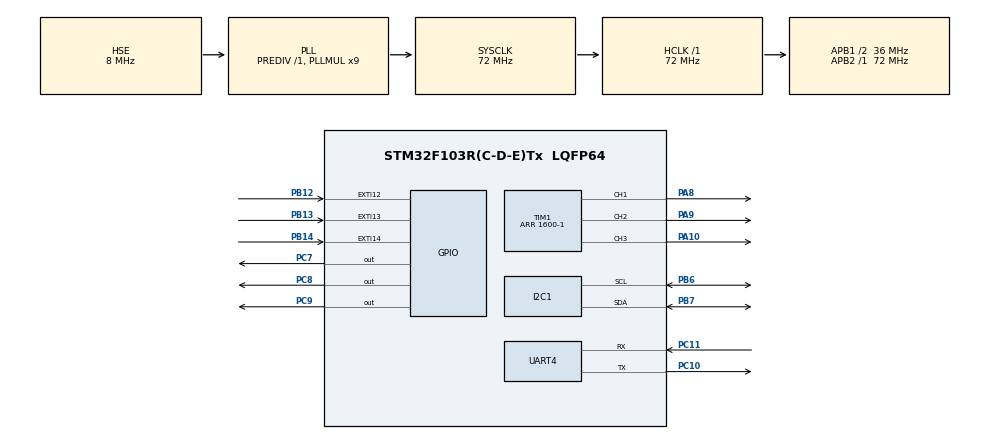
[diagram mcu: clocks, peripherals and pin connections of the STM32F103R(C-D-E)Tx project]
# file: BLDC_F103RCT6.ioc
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Dma.I2C1_RX.1.Direction=DMA_PERIPH_TO_MEMORY
Dma.I2C1_RX.1.Instance=DMA1_Channel7
Dma.I2C1_RX.1.MemDataAlignment=DMA_MDATAALIGN_BYTE
Dma.I2C1_RX.1.MemInc=DMA_MINC_ENABLE
Dma.I2C1_RX.1.Mode=DMA_NORMAL
Dma.I2C1_RX.1.PeriphDataAlignment=DMA_PDATAALIGN_BYTE
Dma.I2C1_RX.1.PeriphInc=DMA_PINC_DISABLE
Dma.I2C1_RX.1.Priority=DMA_PRIORITY_LOW
Dma.I2C1_TX.0.Direction=DMA_MEMORY_TO_PERIPH
Dma.I2C1_TX.0.Instance=DMA1_Channel6
Dma.I2C1_TX.0.MemDataAlignment=DMA_MDATAALIGN_BYTE
Dma.I2C1_TX.0.MemInc=DMA_MINC_ENABLE
Dma.I2C1_TX.0.Mode=DMA_NORMAL
Dma.I2C1_TX.0.PeriphDataAlignment=DMA_PDATAALIGN_BYTE
Dma.I2C1_TX.0.PeriphInc=DMA_PINC_DISABLE
Dma.I2C1_TX.0.Priority=DMA_PRIORITY_LOW
Dma.Request0=I2C1_TX
Dma.Request1=I2C1_RX
Dma.Request2=UART4_RX
Dma.Request3=UART4_TX
Dma.UART4_RX.2.Direction=DMA_PERIPH_TO_MEMORY
Dma.UART4_RX.2.Instance=DMA2_Channel3
Dma.UART4_RX.2.MemDataAlignment=DMA_MDATAALIGN_BYTE
Dma.UART4_RX.2.MemInc=DMA_MINC_ENABLE
Dma.UART4_RX.2.Mode=DMA_NORMAL
Dma.UART4_RX.2.PeriphDataAlignment=DMA_PDATAALIGN_BYTE
Dma.UART4_RX.2.PeriphInc=DMA_PINC_DISABLE
Dma.UART4_RX.2.Priority=DMA_PRIORITY_LOW
Dma.UART4_TX.3.Direction=DMA_MEMORY_TO_PERIPH
Dma.UART4_TX.3.Instance=DMA2_Channel5
Dma.UART4_TX.3.MemDataAlignment=DMA_MDATAALIGN_BYTE
Dma.UART4_TX.3.MemInc=DMA_MINC_ENABLE
Dma.UART4_TX.3.Mode=DMA_NORMAL
Dma.UART4_TX.3.PeriphDataAlignment=DMA_PDATAALIGN_BYTE
Dma.UART4_TX.3.PeriphInc=DMA_PINC_DISABLE
Dma.UART4_TX.3.Priority=DMA_PRIORITY_LOW
FREERTOS.Tasks01=defaultTask,-3,64,StartDefaultTask,Default,NULL,Dynamic,NULL,NULL
FREERTOS.configGENERATE_RUN_TIME_STATS=1
FREERTOS.configMINIMAL_STACK_SIZE=64
FREERTOS.configRECORD_STACK_HIGH_ADDRESS=1
FREERTOS.configUSE_NEWLIB_REENTRANT=1
FREERTOS.configUSE_STATS_FORMATTING_FUNCTIONS=1
FREERTOS.configUSE_TRACE_FACILITY=1
Mcu.Family=STM32F1
Mcu.Name=STM32F103R(C-D-E)Tx
Mcu.Package=LQFP64
NVIC.DMA1_Channel6_IRQn=true\:5\:0\:false\:false\:true\:true\:false\:true\:true
NVIC.DMA1_Channel7_IRQn=true\:5\:0\:false\:false\:true\:true\:false\:true\:true
NVIC.DMA2_Channel3_IRQn=true\:5\:0\:false\:false\:true\:true\:false\:true\:true
NVIC.DMA2_Channel4_5_IRQn=true\:5\:0\:false\:false\:true\:true\:false\:true\:true
NVIC.EXTI15_10_IRQn=true\:5\:0\:false\:false\:true\:true\:true\:true\:true
NVIC.PriorityGroup=NVIC_PRIORITYGROUP_4
NVIC.TIM7_IRQn=true\:5\:0\:false\:false\:true\:true\:true\:true\:true
NVIC.TIM8_UP_IRQn=true\:15\:0\:false\:false\:true\:false\:false\:true\:true
NVIC.TimeBase=TIM8_UP_IRQn
NVIC.TimeBaseIP=TIM8
PA10.Signal=S_TIM1_CH3
PA13.Mode=Trace_Asynchronous_SW
PA13.Signal=SYS_JTMS-SWDIO
PA14.Mode=Trace_Asynchronous_SW
PA14.Signal=SYS_JTCK-SWCLK
PA8.Signal=S_TIM1_CH1
PA9.Signal=S_TIM1_CH2
PB12.GPIO_ModeDefaultEXTI=GPIO_MODE_IT_RISING_FALLING
PB12.Signal=GPXTI12
PB13.GPIO_ModeDefaultEXTI=GPIO_MODE_IT_RISING_FALLING
PB13.Signal=GPXTI13
PB14.GPIO_ModeDefaultEXTI=GPIO_MODE_IT_RISING_FALLING
PB14.Signal=GPXTI14
PB3.Mode=Trace_Asynchronous_SW
PB3.Signal=SYS_JTDO-TRACESWO
PB6.Mode=I2C
PB6.Signal=I2C1_SCL
PB7.Mode=I2C
PB7.Signal=I2C1_SDA
PC10.Mode=Asynchronous
PC10.Signal=UART4_TX
PC11.Mode=Asynchronous
PC11.Signal=UART4_RX
PC14-OSC32_IN.Mode=LSE-External-Oscillator
PC14-OSC32_IN.Signal=RCC_OSC32_IN
PC15-OSC32_OUT.Mode=LSE-External-Oscillator
PC15-OSC32_OUT.Signal=RCC_OSC32_OUT
PC7.Signal=GPIO_Output
PC8.Signal=GPIO_Output
PC9.Signal=GPIO_Output
PD0-OSC_IN.Mode=HSE-External-Oscillator
PD0-OSC_IN.Signal=RCC_OSC_IN
PD1-OSC_OUT.Mode=HSE-External-Oscillator
PD1-OSC_OUT.Signal=RCC_OSC_OUT
ProjectManager.HeapSize=0x200
ProjectManager.StackSize=0x400
ProjectManager.TargetToolchain=CMake
RCC.AHBFreq_Value=72000000
RCC.APB1CLKDivider=RCC_HCLK_DIV2
RCC.APB1Freq_Value=36000000
RCC.APB1TimFreq_Value=72000000
RCC.APB2Freq_Value=72000000
RCC.APB2TimFreq_Value=72000000
RCC.EnbaleCSS=true
RCC.HCLKFreq_Value=72000000
RCC.PLLMUL=RCC_PLL_MUL9
RCC.PLLSourceVirtual=RCC_PLLSOURCE_HSE
RCC.SYSCLKFreq_VALUE=72000000
RCC.SYSCLKSource=RCC_SYSCLKSOURCE_PLLCLK
RCC.USBFreq_Value=72000000
SH.S_TIM1_CH1.0=TIM1_CH1,PWM Generation1 CH1
SH.S_TIM1_CH2.0=TIM1_CH2,PWM Generation2 CH2
SH.S_TIM1_CH3.0=TIM1_CH3,PWM Generation3 CH3
TIM1.BreakState=TIM_BREAK_DISABLE
TIM1.Channel-PWM\ Generation1\ CH1=TIM_CHANNEL_1
TIM1.Channel-PWM\ Generation2\ CH2=TIM_CHANNEL_2
TIM1.Channel-PWM\ Generation3\ CH3=TIM_CHANNEL_3
TIM1.Period=1600-1
TIM7.Period=7199
UART4.VirtualMode=Asynchronous
VP_FREERTOS_VS_CMSIS_V1.Mode=CMSIS_V1
VP_SYS_VS_tim8.Mode=TIM8
VP_TIM1_VS_ClockSourceINT.Mode=Internal
VP_TIM7_VS_ClockSourceINT.Mode=Enable_Timer
board=custom

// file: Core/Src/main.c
/* USER CODE BEGIN Header */
/**
 ******************************************************************************
 * @file           : main.c
 * @brief          : Main program body
 ******************************************************************************
 * @attention
 *
 * Copyright (c) 2024 STMicroelectronics.
 * All rights reserved.
 *
 * This software is licensed under terms that can be found in the LICENSE file
 * in the root directory of this software component.
 * If no LICENSE file comes with this software, it is provided AS-IS.
 *
 ******************************************************************************
 */
/* USER CODE END Header */
#include "main.h"
#include "cmsis_os.h"
#include "dma.h"
#include "i2c.h"
#include "tim.h"
#include "usart.h"
#include "gpio.h"

/* USER CODE BEGIN Includes */
#include "motorDrv.h"
#include "speedCalc.h"
#include "pid.h"
#include "bldcRtosPort.h"
/* USER CODE END Includes */

/* USER CODE BEGIN PV */
volatile uint8_t dbg_send_cnt = 0;
extern runStateStruct runStateM1;
extern PIDstruct PIDM1struct;
/* USER CODE END PV */

void SystemClock_Config(void);
void MX_FREERTOS_Init(void);

int main(void)
{

  /* MCU Configuration--------------------------------------------------------*/

  /* Reset of all peripherals, Initializes the Flash interface and the Systick. */
  HAL_Init();

  /* Configure the system clock */
  SystemClock_Config();

  /* USER CODE BEGIN SysInit */
	speedCalcInit();
  /* USER CODE END SysInit */

  /* Initialize all configured peripherals */
  MX_GPIO_Init();
  MX_DMA_Init();
  MX_I2C1_Init();
  MX_TIM1_Init();
  MX_UART4_Init();
  MX_TIM7_Init();
  /* USER CODE BEGIN 2 */
	PIDstructInit(&PIDM1struct);

	resetState(&runStateM1);

	resetMotor();

	runStateM1.targetSpd = 50.0f;
  if(runStateM1.targetSpd < 0.0f)
    runStateM1.dir = MOTOR_DIR_CW;
  else
    runStateM1.dir = MOTOR_DIR_CCW;

  /* USER CODE END 2 */

  /* Call init function for freertos objects (in cmsis_os2.c) */
  MX_FREERTOS_Init();

  /* Start scheduler */
  osKernelStart();

  /* We should never get here as control is now taken by the scheduler */

  /* Infinite loop */
	while (1)
	{

	}
}

void SystemClock_Config(void)
{
  RCC_OscInitTypeDef RCC_OscInitStruct = {0};
  RCC_ClkInitTypeDef RCC_ClkInitStruct = {0};

  /** Initializes the RCC Oscillators according to the specified parameters
  * in the RCC_OscInitTypeDef structure.
  */
  RCC_OscInitStruct.OscillatorType = RCC_OSCILLATORTYPE_HSE;
  RCC_OscInitStruct.HSEState = RCC_HSE_ON;
  RCC_OscInitStruct.HSEPredivValue = RCC_HSE_PREDIV_DIV1;
  RCC_OscInitStruct.HSIState = RCC_HSI_ON;
  RCC_OscInitStruct.PLL.PLLState = RCC_PLL_ON;
  RCC_OscInitStruct.PLL.PLLSource = RCC_PLLSOURCE_HSE;
  RCC_OscInitStruct.PLL.PLLMUL = RCC_PLL_MUL9;
  if (HAL_RCC_OscConfig(&RCC_OscInitStruct) != HAL_OK)
  {
    Error_Handler();
  }

  /** Initializes the CPU, AHB and APB buses clocks
  */
  RCC_ClkInitStruct.ClockType = RCC_CLOCKTYPE_HCLK|RCC_CLOCKTYPE_SYSCLK
                              |RCC_CLOCKTYPE_PCLK1|RCC_CLOCKTYPE_PCLK2;
  RCC_ClkInitStruct.SYSCLKSource = RCC_SYSCLKSOURCE_PLLCLK;
  RCC_ClkInitStruct.AHBCLKDivider = RCC_SYSCLK_DIV1;
  RCC_ClkInitStruct.APB1CLKDivider = RCC_HCLK_DIV2;
  RCC_ClkInitStruct.APB2CLKDivider = RCC_HCLK_DIV1;

  if (HAL_RCC_ClockConfig(&RCC_ClkInitStruct, FLASH_LATENCY_2) != HAL_OK)
  {
    Error_Handler();
  }

  /** Enables the Clock Security System
  */
  HAL_RCC_EnableCSS();
}

void HAL_TIM_PeriodElapsedCallback(TIM_HandleTypeDef *htim)
{
  /* USER CODE BEGIN Callback 0 */
  doPulse(&runStateM1);
  dbg_send_cnt++;
  /* USER CODE END Callback 0 */
  if (htim->Instance == TIM8) {
    HAL_IncTick();
  }
}

void Error_Handler(void)
{
  __disable_irq();
  while (1)
  {
  }
}

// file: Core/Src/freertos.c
/* USER CODE BEGIN Header */
/**
  ******************************************************************************
  * File Name          : freertos.c
  * Description        : Code for freertos applications
  ******************************************************************************
  * @attention
  *
  * Copyright (c) 2024 STMicroelectronics.
  * All rights reserved.
  *
  * This software is licensed under terms that can be found in the LICENSE file
  * in the root directory of this software component.
  * If no LICENSE file comes with this software, it is provided AS-IS.
  *
  ******************************************************************************
  */
/* USER CODE END Header */

#include "FreeRTOS.h"
#include "task.h"
#include "main.h"
#include "cmsis_os.h"

/* USER CODE BEGIN Includes */
#include "dbgPrintLog.h"
#include <stdint.h>
#include "uartProtocol.h"
#include "bldcRtosPort.h"
/* USER CODE END Includes */

/* USER CODE BEGIN Variables */
extern MotorType Motor1;
/* USER CODE END Variables */
osThreadId defaultTaskHandle;

void MX_FREERTOS_Init(void); /* (MISRA C 2004 rule 8.1) */

/* GetIdleTaskMemory prototype (linked to static allocation support) */
void vApplicationGetIdleTaskMemory( StaticTask_t **ppxIdleTaskTCBBuffer, StackType_t **ppxIdleTaskStackBuffer, uint32_t *pulIdleTaskStackSize );

/* Hook prototypes */
void configureTimerForRunTimeStats(void);
unsigned long getRunTimeCounterValue(void);

/* USER CODE BEGIN 1 */
/* Functions needed when configGENERATE_RUN_TIME_STATS is on */
#define portCONFIGURE_TIMER_FOR_RUN_TIME_STATS    configureTimerForRunTimeStats
#define portGET_RUN_TIME_COUNTER_VALUE            getRunTimeCounterValue
__weak void configureTimerForRunTimeStats(void)
{
  HAL_TIM_Base_Start_IT(&htim7);
}

extern volatile uint32_t ulHighFrequencyTimerTicks;

__weak unsigned long getRunTimeCounterValue(void)
{
return ulHighFrequencyTimerTicks;
}
/* USER CODE END 1 */

/* USER CODE BEGIN GET_IDLE_TASK_MEMORY */
static StaticTask_t xIdleTaskTCBBuffer;
static StackType_t xIdleStack[configMINIMAL_STACK_SIZE];

void vApplicationGetIdleTaskMemory( StaticTask_t **ppxIdleTaskTCBBuffer, StackType_t **ppxIdleTaskStackBuffer, uint32_t *pulIdleTaskStackSize )
{
  *ppxIdleTaskTCBBuffer = &xIdleTaskTCBBuffer;
  *ppxIdleTaskStackBuffer = &xIdleStack[0];
  *pulIdleTaskStackSize = configMINIMAL_STACK_SIZE;
  /* place for user code */
}
/* USER CODE END GET_IDLE_TASK_MEMORY */

void MX_FREERTOS_Init(void) {

  /* Create the thread(s) */
  /* definition and creation of defaultTask */

  /* USER CODE BEGIN RTOS_THREADS */
  xTaskCreate(vMotorPID, "MotorPID", 64, &Motor1, 0, NULL);
  xTaskCreate(vUartProtocol, "UART Protocol", 128, NULL, 0, NULL);
  /* USER CODE END RTOS_THREADS */

}
